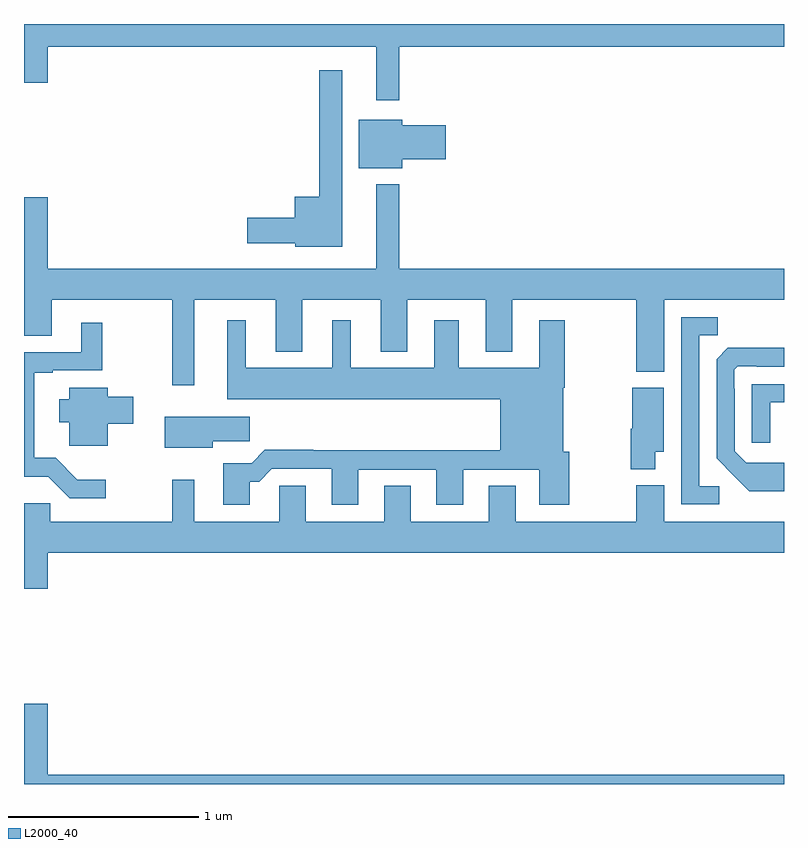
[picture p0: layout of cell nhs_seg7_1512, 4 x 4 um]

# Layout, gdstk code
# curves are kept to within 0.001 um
import gdstk
lib = gdstk.Library(unit=1e-6, precision=1e-09)
def P(c, l, *ps):  # polygons
    for p in ps: c.add(gdstk.Polygon(p, *l))
L2000_40 = (2000, 40)

nhs_seg7_1512 = lib.new_cell('nhs_seg7_1512')
P(nhs_seg7_1512, L2000_40, [(213,1069.692),(213.124,1069.692),(213.124,1069.88),(214.853,1069.88),(214.853,1069.599),(214.975,1069.599),(214.975,1069.88),(217,1069.88),(217,1070),(213,1070)],
  [(214.675,1069.756),(214.554,1069.756),(214.554,1069.09),(214.424,1069.09),(214.424,1068.98),(214.176,1068.98),(214.176,1068.845),(214.428,1068.845),(214.428,1068.827),(214.675,1068.827)],
  [(214.99,1069.289),(215.221,1069.289),(215.221,1069.467),(214.99,1069.467),(214.99,1069.495),(214.763,1069.495),(214.763,1069.241),(214.99,1069.241)],
  [(213.895,1068.548),(214.325,1068.548),(214.325,1068.275),(214.465,1068.275),(214.465,1068.548),(214.877,1068.548),(214.877,1068.275),(215.017,1068.275),(215.017,1068.548),(215.429,1068.548),(215.429,1068.275),(215.569,1068.275),(215.569,1068.548),(216.223,1068.548),(216.223,1068.17),(216.37,1068.17),(216.37,1068.548),(217,1068.548),(217,1068.712),(214.975,1068.712),(214.975,1069.156),(214.853,1069.156),(214.853,1068.712),(213.124,1068.712),(213.124,1069.087),(213,1069.087),(213,1068.358),(213.145,1068.358),(213.145,1068.548),(213.781,1068.548),(213.781,1068.099),(213.895,1068.099)],
  [(216.658,1067.568),(216.555,1067.568),(216.555,1068.361),(216.651,1068.361),(216.651,1068.456),(216.459,1068.456),(216.459,1067.472),(216.658,1067.472)],
  [(214.189,1067.591),(214.238,1067.591),(214.305,1067.658),(214.619,1067.658),(214.619,1067.469),(214.759,1067.469),(214.759,1067.655),(215.171,1067.655),(215.171,1067.469),(215.311,1067.469),(215.311,1067.655),(215.711,1067.655),(215.711,1067.469),(215.871,1067.469),(215.871,1067.748),(215.839,1067.748),(215.839,1068.086),(215.847,1068.086),(215.847,1068.442),(215.711,1068.442),(215.711,1068.19),(215.287,1068.19),(215.287,1068.442),(215.159,1068.442),(215.159,1068.19),(214.72,1068.19),(214.72,1068.442),(214.622,1068.442),(214.622,1068.19),(214.168,1068.19),(214.168,1068.442),(214.07,1068.442),(214.07,1068.026),(215.507,1068.026),(215.507,1067.756),(214.523,1067.756),(214.523,1067.759),(214.268,1067.759),(214.198,1067.689),(214.049,1067.689),(214.049,1067.469),(214.189,1067.469)],
  [(213.43,1067.602),(213.281,1067.602),(213.166,1067.717),(213.055,1067.717),(213.055,1068.165),(213.151,1068.165),(213.151,1068.177),(213.412,1068.177),(213.412,1068.427),(213.302,1068.427),(213.302,1068.273),(213,1068.273),(213,1067.618),(213.127,1067.618),(213.24,1067.505),(213.43,1067.505)],
  [(217,1067.692),(216.801,1067.691),(216.741,1067.751),(216.741,1068.08),(216.738,1068.08),(216.738,1068.18),(216.756,1068.198),(216.856,1068.198),(216.856,1068.195),(217,1068.195),(217,1068.296),(216.704,1068.295),(216.645,1068.236),(216.645,1067.714),(216.817,1067.54),(217,1067.54)],
  [(216.927,1068.009),(217,1068.009),(217,1068.105),(216.831,1068.105),(216.831,1067.796),(216.927,1067.796)],
  [(216.322,1067.75),(216.367,1067.75),(216.367,1068.085),(216.2,1068.085),(216.2,1067.871),(216.193,1067.871),(216.193,1067.657),(216.322,1067.657)],
  [(213.442,1067.896),(213.574,1067.896),(213.574,1068.038),(213.442,1068.038),(213.442,1068.085),(213.239,1068.085),(213.239,1068.025),(213.185,1068.025),(213.185,1067.903),(213.239,1067.903),(213.239,1067.78),(213.442,1067.78)],
  [(213.994,1067.803),(214.189,1067.803),(214.189,1067.932),(213.74,1067.932),(213.74,1067.771),(213.994,1067.771)],
  [(213.124,1067.216),(217,1067.216),(217,1067.38),(216.37,1067.38),(216.37,1067.572),(216.223,1067.572),(216.223,1067.38),(215.587,1067.38),(215.587,1067.57),(215.447,1067.57),(215.447,1067.38),(215.035,1067.38),(215.035,1067.57),(214.895,1067.57),(214.895,1067.38),(214.483,1067.38),(214.483,1067.57),(214.344,1067.57),(214.344,1067.38),(213.895,1067.38),(213.895,1067.602),(213.781,1067.602),(213.781,1067.38),(213.139,1067.38),(213.139,1067.478),(213,1067.478),(213,1067.028),(213.124,1067.028)],
  [(217,1066.048),(213.124,1066.048),(213.124,1066.423),(213,1066.423),(213,1066),(217,1066)])

lib.write_gds('nhs_seg7_1512.gds')
